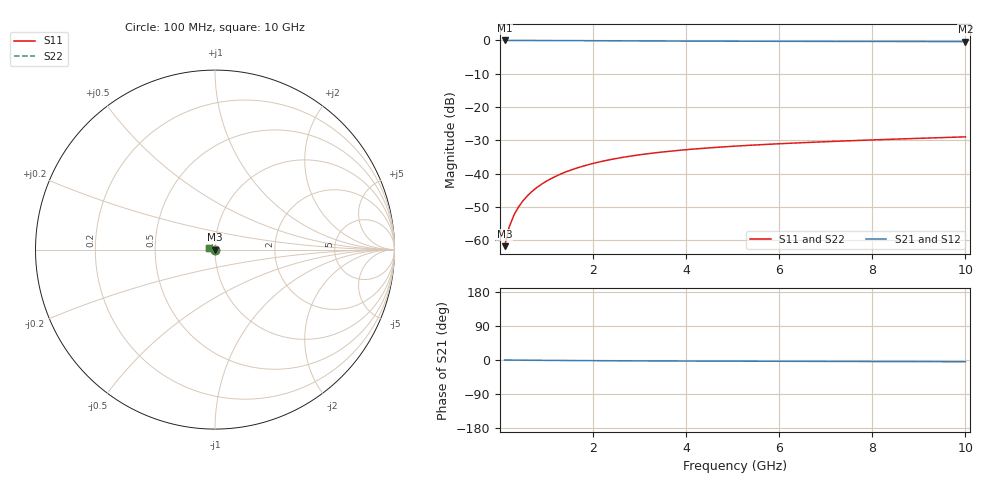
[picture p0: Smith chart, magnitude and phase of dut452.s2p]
! Touchstone file exported from HFSS 2024.1.0
!  File:  C:/UserFiles/LocalFiles/RDL_TSV_Batchsim/temp_TSV1_452_1779696402.aedt
!  Generated:  04:12:57 PM May 25, 2026
!  Design:  TSV1
!  Project:  temp_TSV1_452_1779696402
!  Setup:  Setup1
!  Solution:  Sweep
! Variables:
!  dtsv = 7.71um
!  hbump = 3um
!  htsv = 69.45um
!  lrdl = 252.1521522um
!  p = 40
!  p1 = 48.81um
!  t = 500um
!  trdl = 3um
!  wrdl = 24.89489489um
# GHz S MA R 50.000000
! Terminal data exported
! Port[1] = TSV22_T1
! Port[2] = TSV22_T2
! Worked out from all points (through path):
!   100 points, 100 MHz to 10 GHz, reference 50 ohm
!   highest |S21| = 0.00 dB at 100 MHz (marker M1); lowest = -0.3 dB at 10 GHz (marker M2)
!   lowest |S11| = -61.7 dB at 100 MHz (marker M3), VSWR 1.00, Z = 50 - j0.0795 ohm
!   |S11| at or under -10 dB: start of sweep to end of sweep
!   |S22| runs from -61.7 to -28.9 dB; largest |S21 - S12| = 4.1e-15
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0.1  0.000819 -76.1  0.9997 -0.1  0.9997 -0.1  0.000819 -76.1
! Gamma 0 0 0 0
! Port Impedance 50 0 50 0
0.2  0.001606 -85.8  0.9996 -0.2  0.9996 -0.2  0.001606 -85.8
0.3  0.002398 -90.4  0.9995 -0.3  0.9995 -0.3  0.002398 -90.4
0.4  0.003186 -93.7  0.9993 -0.4  0.9993 -0.4  0.003186 -93.7
0.5  0.003969 -96.4  0.9991 -0.5  0.9991 -0.5  0.003969 -96.4
0.6  0.004744 -98.9  0.9988 -0.6  0.9988 -0.6  0.004744 -98.9
0.7  0.005511 -101.2  0.9984 -0.7  0.9984 -0.7  0.005511 -101.2
0.8  0.006268 -103.4  0.998 -0.8  0.998 -0.8  0.006268 -103.4
0.9  0.007014 -105.5  0.9976 -0.9  0.9976 -0.9  0.007014 -105.5
1.1  0.008469 -109.5  0.9966 -1.0  0.9966 -1.0  0.008469 -109.5
1.4  0.01055 -115.2  0.9949 -1.3  0.9949 -1.3  0.01055 -115.2
1.6  0.01185 -118.8  0.9937 -1.4  0.9937 -1.4  0.01185 -118.8
1.8  0.0131 -122.3  0.9924 -1.6  0.9924 -1.6  0.0131 -122.3
2.1  0.01484 -127.3  0.9904 -1.8  0.9904 -1.8  0.01484 -127.3
2.5  0.01694 -133.5  0.9877 -2.0  0.9877 -2.0  0.01694 -133.5
2.9  0.0188 -139.3  0.985 -2.2  0.985 -2.2  0.0188 -139.3
3.4  0.02084 -145.9  0.9819 -2.5  0.9819 -2.5  0.02084 -145.9
4.2  0.02357 -155.2  0.9777 -2.8  0.9777 -2.8  0.02357 -155.2
5.1  0.02606 -164.2  0.9738 -3.1  0.9738 -3.1  0.02606 -164.2
6.7  0.02964 -177.5  0.9687 -3.6  0.9687 -3.6  0.02964 -177.5
8.4  0.03289 171.3  0.9652 -4.1  0.9652 -4.1  0.03289 171.3
10  0.03576 162.6  0.9629 -4.6  0.9629 -4.6  0.03576 162.6
